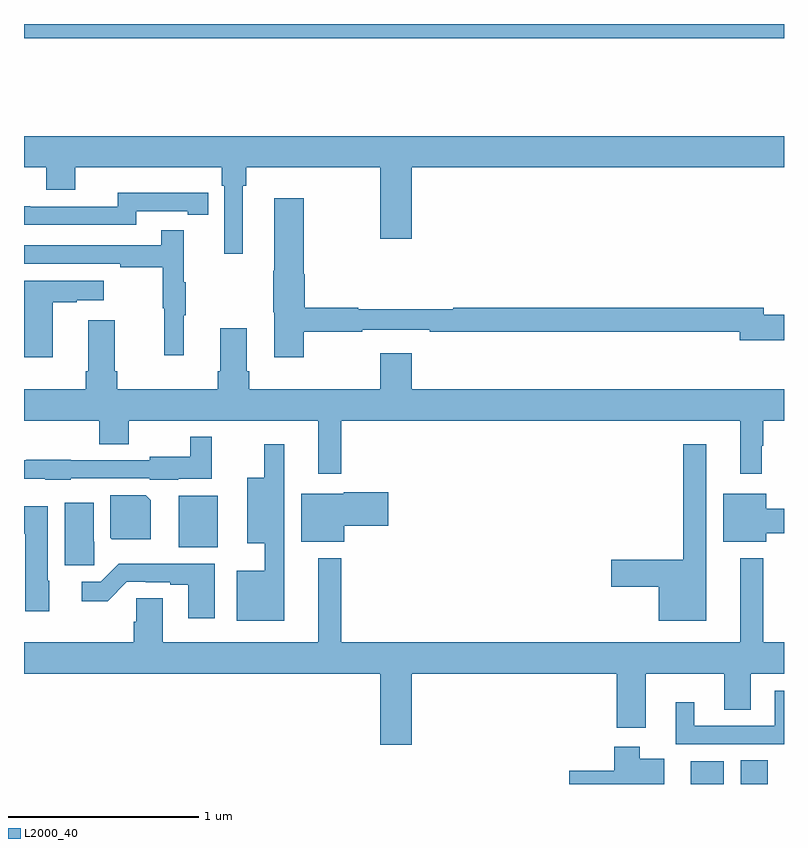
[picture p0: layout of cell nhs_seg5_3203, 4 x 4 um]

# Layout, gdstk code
import gdstk
lib = gdstk.Library(unit=1e-6, precision=1e-09)
def R(c, l, rs):  # rectangles x0, y0, x1, y1
    for r in rs: c.add(gdstk.rectangle(r[:2], r[2:], *l))
def P(c, l, *ps):  # polygons
    for p in ps: c.add(gdstk.Polygon(p, *l))
L2000_40 = (2000, 40)

nhs_seg5_3203 = lib.new_cell('nhs_seg5_3203')
R(nhs_seg5_3203, L2000_40, [(298.508,902.799,298.684,902.92), (298.772,902.799,298.915,902.924), (295.814,904.046,296.02,904.316), (295,906.724,299,906.799)])
P(nhs_seg5_3203, L2000_40, [(296.152,905.948),(296.171,905.948),(296.171,906.044),(296.876,906.044),(296.876,905.67),(297.04,905.67),(297.04,906.044),(299,906.044),(299,906.208),(295,906.208),(295,906.044),(295.118,906.044),(295.118,905.927),(295.27,905.927),(295.27,906.044),(296.042,906.044),(296.042,905.948),(296.055,905.948),(296.055,905.589),(296.152,905.589)],
  [(295.59,905.814),(295.862,905.814),(295.862,905.794),(295.97,905.794),(295.97,905.91),(295.862,905.91),(295.862,905.911),(295.494,905.911),(295.494,905.838),(295.034,905.838),(295.034,905.84),(295,905.84),(295,905.742),(295.59,905.742)],
  [(296.472,905.178),(296.78,905.178),(296.78,905.19),(297.136,905.19),(297.136,905.178),(298.766,905.178),(298.766,905.135),(299,905.135),(299,905.27),(298.894,905.27),(298.894,905.306),(297.26,905.306),(297.26,905.299),(296.76,905.299),(296.76,905.306),(296.477,905.306),(296.477,905.483),(296.472,905.483),(296.472,905.881),(296.318,905.881),(296.318,905.501),(296.311,905.501),(296.311,905.283),(296.318,905.283),(296.318,905.046),(296.472,905.046)],
  [(295.841,905.267),(295.852,905.267),(295.852,905.441),(295.841,905.441),(295.841,905.713),(295.723,905.713),(295.723,905.634),(295,905.634),(295,905.538),(295.507,905.538),(295.507,905.518),(295.731,905.518),(295.731,905.304),(295.738,905.304),(295.738,905.055),(295.841,905.055)],
  [(295.15,905.335),(295.277,905.335),(295.277,905.345),(295.42,905.345),(295.42,905.449),(295,905.449),(295,905.046),(295.15,905.046)],
  [(296.671,904.712),(298.769,904.712),(298.769,904.431),(298.883,904.431),(298.883,904.58),(298.891,904.58),(298.891,904.712),(299,904.712),(299,904.876),(297.04,904.876),(297.04,905.065),(296.876,905.065),(296.876,904.876),(296.186,904.876),(296.186,904.972),(296.173,904.972),(296.173,905.197),(296.033,905.197),(296.033,904.972),(296.021,904.972),(296.021,904.876),(295.49,904.876),(295.49,904.972),(295.477,904.972),(295.477,905.239),(295.337,905.239),(295.337,904.972),(295.325,904.972),(295.325,904.876),(295,904.876),(295,904.712),(295.396,904.712),(295.396,904.588),(295.551,904.588),(295.551,904.712),(296.549,904.712),(296.549,904.431),(296.671,904.431)],
  [(295.245,904.407),(295.662,904.407),(295.662,904.4),(295.812,904.4),(295.812,904.406),(295.988,904.406),(295.988,904.627),(295.875,904.627),(295.875,904.522),(295.662,904.522),(295.662,904.503),(295.245,904.503),(295.245,904.505),(295.013,904.505),(295.013,904.503),(295,904.503),(295,904.406),(295.113,904.406),(295.113,904.4),(295.245,904.4)],
  [(298.591,904.588),(298.47,904.588),(298.47,903.98),(298.092,903.98),(298.092,903.838),(298.34,903.838),(298.34,903.659),(298.591,903.659)],
  [(296.371,904.588),(296.265,904.588),(296.265,904.411),(296.174,904.411),(296.174,904.067),(296.267,904.067),(296.267,903.922),(296.12,903.922),(296.12,903.659),(296.371,903.659)],
  [(296.686,904.157),(296.917,904.157),(296.917,904.335),(296.682,904.335),(296.682,904.327),(296.459,904.327),(296.459,904.073),(296.686,904.073)],
  [(298.906,904.12),(299,904.12),(299,904.249),(298.906,904.249),(298.906,904.327),(298.679,904.327),(298.679,904.073),(298.906,904.073)],
  [(295.666,904.292),(295.64,904.318),(295.454,904.318),(295.454,904.096),(295.462,904.088),(295.666,904.088)],
  [(295.37,904.074),(295.366,904.074),(295.366,904.279),(295.214,904.279),(295.214,903.951),(295.37,903.951)],
  [(295.132,903.87),(295.126,903.87),(295.126,904.261),(295,904.261),(295,904.116),(295.007,904.116),(295.007,903.708),(295.132,903.708)],
  [(297.04,903.38),(298.121,903.38),(298.121,903.096),(298.273,903.096),(298.273,903.38),(298.685,903.38),(298.685,903.19),(298.825,903.19),(298.825,903.38),(299,903.38),(299,903.544),(298.891,903.544),(298.891,903.988),(298.769,903.988),(298.769,903.544),(296.671,903.544),(296.671,903.988),(296.549,903.988),(296.549,903.544),(295.729,903.544),(295.729,903.776),(295.59,903.776),(295.59,903.654),(295.577,903.654),(295.577,903.544),(295,903.544),(295,903.38),(296.876,903.38),(296.876,903.006),(297.04,903.006)],
  [(296.005,903.959),(295.499,903.959),(295.404,903.864),(295.305,903.864),(295.305,903.762),(295.44,903.762),(295.542,903.864),(295.642,903.864),(295.642,903.861),(295.769,903.861),(295.769,903.849),(295.865,903.849),(295.865,903.672),(296.005,903.672)],
  [(299,903.289),(298.952,903.289),(298.952,903.105),(298.528,903.105),(298.528,903.229),(298.43,903.229),(298.43,903.009),(299,903.009)],
  [(298.369,902.932),(298.24,902.932),(298.24,902.995),(298.106,902.995),(298.106,902.87),(297.87,902.87),(297.87,902.799),(298.369,902.799)])

lib.write_gds('nhs_seg5_3203.gds')
